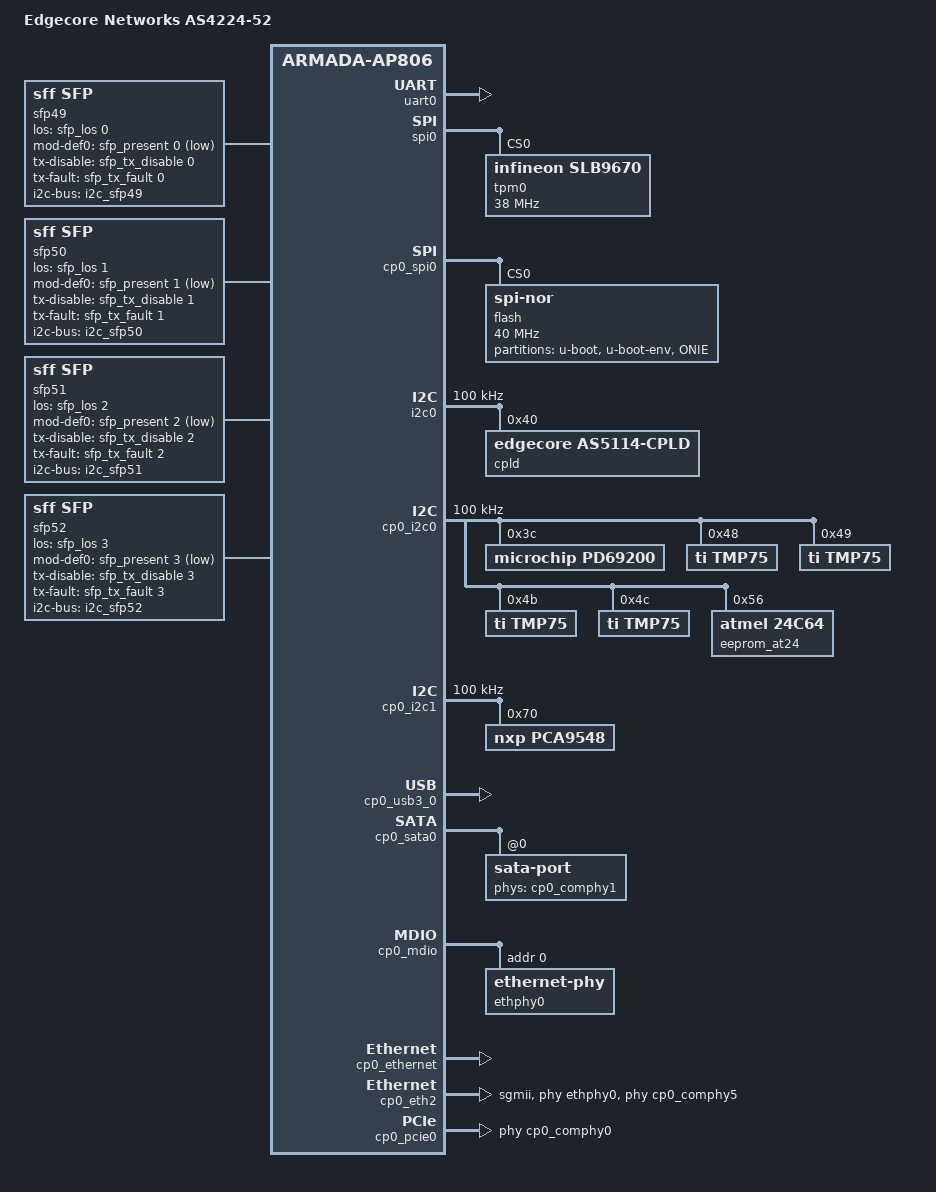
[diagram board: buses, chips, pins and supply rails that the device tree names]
// SPDX-License-Identifier: GPL-2.0-or-later OR MIT
/*
 * Copyright (C) 2016 Marvell Technology Group Ltd.
 * Copyright (C) 2021 Sartura Ltd.
 *
 * Device Tree file for Edgecore Networks AS4224-52(T/P) switch
 */

#include <dt-bindings/leds/common.h>
#include <dt-bindings/gpio/gpio.h>
#include "armada-7040.dtsi"

/ {
	model = "Edgecore Networks AS4224-52";
	compatible = "edgecore,as4224-52", "marvell,armada7040",
		     "marvell,armada-ap806-quad", "marvell,armada-ap806";

	chosen {
		stdout-path = "serial0:115200n8";
	};

	aliases {
		ethernet2 = &cp0_eth2;
	};

	switch-cpu {
		status = "okay";
		compatible = "marvell,prestera-switch-rxtx-sdma";
	};

	prestera {
		status = "okay";
		compatible = "marvell,prestera";
		base-mac-provider = <&onie_eeprom>;

		ports {
			port49 {
				prestera,port-num = <49>;
				sfp = <&sfp49>;
			};

			port50 {
				prestera,port-num = <50>;
				sfp = <&sfp50>;
			};

			port51 {
				prestera,port-num = <51>;
				sfp = <&sfp51>;
			};

			port52 {
				prestera,port-num = <52>;
				sfp = <&sfp52>;
			};
		};
	};

	onie_eeprom: onie-eeprom {
		status = "okay";
		compatible = "onie,nvmem-cells";

		nvmem-name = "1-00563";
		nvmem = <&eeprom_at24>;
	};

	sfp49: sfp-49 {
		compatible = "sff,sfp";
		i2c-bus = <&i2c_sfp49>;
		los-gpio = <&sfp_los 0 GPIO_ACTIVE_HIGH>;
		mod-def0-gpio = <&sfp_present 0 GPIO_ACTIVE_LOW>;
		tx-disable-gpio = <&sfp_tx_disable 0 GPIO_ACTIVE_HIGH>;
		tx-fault-gpios = <&sfp_tx_fault 0 GPIO_ACTIVE_HIGH>;
		maximum-power-milliwatt = <2000>;
	};

	sfp50: sfp-50 {
		compatible = "sff,sfp";
		i2c-bus = <&i2c_sfp50>;
		los-gpio = <&sfp_los 1 GPIO_ACTIVE_HIGH>;
		mod-def0-gpio = <&sfp_present 1 GPIO_ACTIVE_LOW>;
		tx-disable-gpio = <&sfp_tx_disable 1 GPIO_ACTIVE_HIGH>;
		tx-fault-gpios = <&sfp_tx_fault 1 GPIO_ACTIVE_HIGH>;
		maximum-power-milliwatt = <2000>;
	};

	sfp51: sfp-51 {
		compatible = "sff,sfp";
		i2c-bus = <&i2c_sfp51>;
		los-gpio = <&sfp_los 2 GPIO_ACTIVE_HIGH>;
		mod-def0-gpio = <&sfp_present 2 GPIO_ACTIVE_LOW>;
		tx-disable-gpio = <&sfp_tx_disable 2 GPIO_ACTIVE_HIGH>;
		tx-fault-gpios = <&sfp_tx_fault 2 GPIO_ACTIVE_HIGH>;
		maximum-power-milliwatt = <2000>;
	};

	sfp52: sfp-52 {
		compatible = "sff,sfp";
		i2c-bus = <&i2c_sfp52>;
		los-gpio = <&sfp_los 3 GPIO_ACTIVE_HIGH>;
		mod-def0-gpio = <&sfp_present 3 GPIO_ACTIVE_LOW>;
		tx-disable-gpio = <&sfp_tx_disable 3 GPIO_ACTIVE_HIGH>;
		tx-fault-gpios = <&sfp_tx_fault 3 GPIO_ACTIVE_HIGH>;
		maximum-power-milliwatt = <2000>;
	};
};

&uart0 {
	status = "okay";
	pinctrl-0 = <&uart0_pins>;
	pinctrl-names = "default";
};

&spi0 {
	status = "okay";

	tpm0: slb9670@0 {
		compatible = "infineon,slb9670";
		reg = <0>;
		spi-max-frequency = <38000000>;
		status = "okay";
	};
};

&cp0_spi0 {
	status = "okay";

	flash@0 {
		compatible = "jedec,spi-nor";
		reg = <0>;
		spi-max-frequency = <40000000>;

		partitions {
			compatible = "fixed-partitions";
			#address-cells = <1>;
			#size-cells = <1>;

			partition@0 {
				label = "u-boot";
				reg = <0x0 0x200000>;
				read-only;
			};

			partition@200000 {
				label = "u-boot-env";
				reg = <0x200000 0x10000>;
			};

			partition@210000 {
				label = "ONIE";
				reg = <0x210000 0xdf0000>;
			};
		};
	};
};

&i2c0 {
	status = "okay";
	clock-frequency = <100000>;

	cpld: cpld@40 {
		compatible = "edgecore,as5114-cpld";
		reg = <0x40>;
		#address-cells = <1>;
		#size-cells = <0>;

		sfp_tx_fault: sfp-tx-fault {
			compatible = "edgecore,as4224-gpio-sfp-tx-fault";
			reg = <0x40>;
			gpio-controller;
			#gpio-cells = <2>;
		};

		sfp_los: sfp-los {
			compatible = "edgecore,as4224-gpio-sfp-los";
			reg = <0x40>;
			gpio-controller;
			#gpio-cells = <2>;
		};

		sfp_present: sfp-present {
			compatible = "edgecore,as4224-gpio-sfp-present";
			reg = <0x41>;
			gpio-controller;
			#gpio-cells = <2>;
		};

		sfp_tx_disable: sfp-tx-disable {
			compatible = "edgecore,as4224-gpio-sfp-tx-disable";
			reg = <0x42>;
			gpio-controller;
			#gpio-cells = <2>;
		};

		hwmon {
			compatible = "edgecore,as5114-hwmon";
		};
	};
};

&cp0_i2c0 {
	status = "okay";
	clock-frequency = <100000>;

	pd69200@3c {
		compatible = "microchip,pd69200";
		reg = <0x3c>;
	};

	tmp75@48 {
		compatible = "ti,tmp75";
		reg = <0x48>;
	};

	tmp75@49 {
		compatible = "ti,tmp75";
		reg = <0x49>;
	};

	tmp75@4b {
		compatible = "ti,tmp75";
		reg = <0x4b>;
	};

	tmp75@4c {
		compatible = "ti,tmp75";
		reg = <0x4c>;
	};

	eeprom_at24: at24@56 {
		compatible = "atmel,24c64";
		reg = <0x56>;
	};
};

&cp0_i2c1 {
	status = "okay";
	clock-frequency = <100000>;

	pca9548@70 {
		compatible = "nxp,pca9548";
		reg = <0x70>;
		#address-cells = <1>;
		#size-cells = <0>;
		i2c-mux-idle-disconnect;

		i2c_sfp49: i2c@0 {
			reg = <0>;
		};

		i2c_sfp50: i2c@1 {
			reg = <1>;
		};

		i2c_sfp51: i2c@2 {
			reg = <2>;
		};

		i2c_sfp52: i2c@3 {
			reg = <3>;
		};
	};
};

&cp0_usb3_0 {
	status = "okay";
};

&cp0_sata0 {
	status = "okay";

	sata-port@0 {
		phys = <&cp0_comphy1 0>;
	};
};

&cp0_mdio {
	status = "okay";

	ethphy0: ethernet-phy@0 {
		reg = <0>;
	};
};

&cp0_ethernet {
	status = "okay";
};

&cp0_eth2 {
	status = "okay";
	phy = <&ethphy0>;
	phy-mode = "sgmii";
	phys = <&cp0_comphy5 2>;
};

&cp0_pcie0 {
	status = "okay";
	phys = <&cp0_comphy0 0>;

	dma-ranges = <0x42000000 0x0 0x00000000 0x0 0x00000000 0x0 0x40000000>;
};
